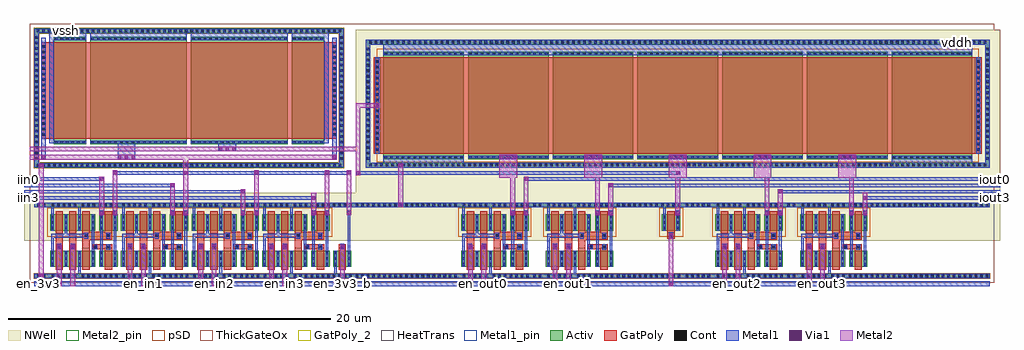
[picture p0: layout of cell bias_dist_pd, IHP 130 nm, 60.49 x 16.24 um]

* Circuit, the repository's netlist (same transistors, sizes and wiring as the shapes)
* SPDX-FileCopyrightText: 2026 Christoph Maier
* SPDX-License-Identifier: Apache-2.0
* bias_dist_pd.cdl: flat reference netlist of bias_dist_pd.gds, composed by build_bdp.py (Claude, agent D, C4 2026-11-07)
* from macros/bias_dist_pd/netlist/source/bias_dist_pd.spice + macros/hv_logic/netlist/source/hv_logic.spice
* (gates expanded, vdd / vss -> vddh / vssh); the dummies of bdp_mirror_n / bdp_mirror_p as backannotated in the source (else drawn names MDN0 / MDN3, MDP0 / MDP6).

.SUBCKT bias_dist_pd vddh vssh en_3v3 en_3v3_b iin0 iin1 iin2 iin3 en_in0 en_in1 en_in2 en_in3 iout0 iout1 iout2 iout3 en_out0 en_out1 en_out2 en_out3
MIA0_PA ei0_b en_3v3 vddh vddh sg13_hv_pmos w=1u l=0.45u ng=1 m=1
MIA0_PB ei0_b en_in0 vddh vddh sg13_hv_pmos w=1u l=0.45u ng=1 m=1
MIA0_NA ei0_b en_3v3 XIA0_n1 vssh sg13_hv_nmos w=1u l=0.45u ng=1 m=1
MIA0_NB XIA0_n1 en_in0 vssh vssh sg13_hv_nmos w=1u l=0.45u ng=1 m=1
MIB0_P ei0 ei0_b vddh vddh sg13_hv_pmos w=1u l=0.45u ng=1 m=1
MIB0_N ei0 ei0_b vssh vssh sg13_hv_nmos w=1u l=0.45u ng=1 m=1
MTIN0 iin0 ei0 ni vssh sg13_hv_nmos w=1u l=0.45u ng=1 m=1
MTIP0 iin0 ei0_b ni vddh sg13_hv_pmos w=1u l=0.45u ng=1 m=1
MIA1_PA ei1_b en_3v3 vddh vddh sg13_hv_pmos w=1u l=0.45u ng=1 m=1
MIA1_PB ei1_b en_in1 vddh vddh sg13_hv_pmos w=1u l=0.45u ng=1 m=1
MIA1_NA ei1_b en_3v3 XIA1_n1 vssh sg13_hv_nmos w=1u l=0.45u ng=1 m=1
MIA1_NB XIA1_n1 en_in1 vssh vssh sg13_hv_nmos w=1u l=0.45u ng=1 m=1
MIB1_P ei1 ei1_b vddh vddh sg13_hv_pmos w=1u l=0.45u ng=1 m=1
MIB1_N ei1 ei1_b vssh vssh sg13_hv_nmos w=1u l=0.45u ng=1 m=1
MTIN1 iin1 ei1 ni vssh sg13_hv_nmos w=1u l=0.45u ng=1 m=1
MTIP1 iin1 ei1_b ni vddh sg13_hv_pmos w=1u l=0.45u ng=1 m=1
MIA2_PA ei2_b en_3v3 vddh vddh sg13_hv_pmos w=1u l=0.45u ng=1 m=1
MIA2_PB ei2_b en_in2 vddh vddh sg13_hv_pmos w=1u l=0.45u ng=1 m=1
MIA2_NA ei2_b en_3v3 XIA2_n1 vssh sg13_hv_nmos w=1u l=0.45u ng=1 m=1
MIA2_NB XIA2_n1 en_in2 vssh vssh sg13_hv_nmos w=1u l=0.45u ng=1 m=1
MIB2_P ei2 ei2_b vddh vddh sg13_hv_pmos w=1u l=0.45u ng=1 m=1
MIB2_N ei2 ei2_b vssh vssh sg13_hv_nmos w=1u l=0.45u ng=1 m=1
MTIN2 iin2 ei2 ni vssh sg13_hv_nmos w=1u l=0.45u ng=1 m=1
MTIP2 iin2 ei2_b ni vddh sg13_hv_pmos w=1u l=0.45u ng=1 m=1
MIA3_PA ei3_b en_3v3 vddh vddh sg13_hv_pmos w=1u l=0.45u ng=1 m=1
MIA3_PB ei3_b en_in3 vddh vddh sg13_hv_pmos w=1u l=0.45u ng=1 m=1
MIA3_NA ei3_b en_3v3 XIA3_n1 vssh sg13_hv_nmos w=1u l=0.45u ng=1 m=1
MIA3_NB XIA3_n1 en_in3 vssh vssh sg13_hv_nmos w=1u l=0.45u ng=1 m=1
MIB3_P ei3 ei3_b vddh vddh sg13_hv_pmos w=1u l=0.45u ng=1 m=1
MIB3_N ei3 ei3_b vssh vssh sg13_hv_nmos w=1u l=0.45u ng=1 m=1
MTIN3 iin3 ei3 ni vssh sg13_hv_nmos w=1u l=0.45u ng=1 m=1
MTIP3 iin3 ei3_b ni vddh sg13_hv_pmos w=1u l=0.45u ng=1 m=1
MTDN ni en_3v3_b vssh vssh sg13_hv_nmos w=1u l=0.45u ng=1 m=1
MNI ni ni vssh vssh sg13_hv_nmos w=6u l=6u ng=1 m=1
MNM vpd ni vssh vssh sg13_hv_nmos w=6u l=6u ng=1 m=1
MPD vpd vpd vddh vddh sg13_hv_pmos w=5u l=6u ng=1 m=1
MSVPD vpd en_3v3 vddh vddh sg13_hv_pmos w=1u l=0.45u ng=1 m=1
MOA0_PA eo0_b en_3v3 vddh vddh sg13_hv_pmos w=1u l=0.45u ng=1 m=1
MOA0_PB eo0_b en_out0 vddh vddh sg13_hv_pmos w=1u l=0.45u ng=1 m=1
MOA0_NA eo0_b en_3v3 XOA0_n1 vssh sg13_hv_nmos w=1u l=0.45u ng=1 m=1
MOA0_NB XOA0_n1 en_out0 vssh vssh sg13_hv_nmos w=1u l=0.45u ng=1 m=1
MOB0_P eo0 eo0_b vddh vddh sg13_hv_pmos w=1u l=0.45u ng=1 m=1
MOB0_N eo0 eo0_b vssh vssh sg13_hv_nmos w=1u l=0.45u ng=1 m=1
MPO0 po0 vpd vddh vddh sg13_hv_pmos w=5u l=6u ng=1 m=1
MTON0 po0 eo0 iout0 vssh sg13_hv_nmos w=1u l=0.45u ng=1 m=1
MTOP0 po0 eo0_b iout0 vddh sg13_hv_pmos w=1u l=0.45u ng=1 m=1
MOA1_PA eo1_b en_3v3 vddh vddh sg13_hv_pmos w=1u l=0.45u ng=1 m=1
MOA1_PB eo1_b en_out1 vddh vddh sg13_hv_pmos w=1u l=0.45u ng=1 m=1
MOA1_NA eo1_b en_3v3 XOA1_n1 vssh sg13_hv_nmos w=1u l=0.45u ng=1 m=1
MOA1_NB XOA1_n1 en_out1 vssh vssh sg13_hv_nmos w=1u l=0.45u ng=1 m=1
MOB1_P eo1 eo1_b vddh vddh sg13_hv_pmos w=1u l=0.45u ng=1 m=1
MOB1_N eo1 eo1_b vssh vssh sg13_hv_nmos w=1u l=0.45u ng=1 m=1
MPO1 po1 vpd vddh vddh sg13_hv_pmos w=5u l=6u ng=1 m=1
MTON1 po1 eo1 iout1 vssh sg13_hv_nmos w=1u l=0.45u ng=1 m=1
MTOP1 po1 eo1_b iout1 vddh sg13_hv_pmos w=1u l=0.45u ng=1 m=1
MOA2_PA eo2_b en_3v3 vddh vddh sg13_hv_pmos w=1u l=0.45u ng=1 m=1
MOA2_PB eo2_b en_out2 vddh vddh sg13_hv_pmos w=1u l=0.45u ng=1 m=1
MOA2_NA eo2_b en_3v3 XOA2_n1 vssh sg13_hv_nmos w=1u l=0.45u ng=1 m=1
MOA2_NB XOA2_n1 en_out2 vssh vssh sg13_hv_nmos w=1u l=0.45u ng=1 m=1
MOB2_P eo2 eo2_b vddh vddh sg13_hv_pmos w=1u l=0.45u ng=1 m=1
MOB2_N eo2 eo2_b vssh vssh sg13_hv_nmos w=1u l=0.45u ng=1 m=1
MPO2 po2 vpd vddh vddh sg13_hv_pmos w=5u l=6u ng=1 m=1
MTON2 po2 eo2 iout2 vssh sg13_hv_nmos w=1u l=0.45u ng=1 m=1
MTOP2 po2 eo2_b iout2 vddh sg13_hv_pmos w=1u l=0.45u ng=1 m=1
MOA3_PA eo3_b en_3v3 vddh vddh sg13_hv_pmos w=1u l=0.45u ng=1 m=1
MOA3_PB eo3_b en_out3 vddh vddh sg13_hv_pmos w=1u l=0.45u ng=1 m=1
MOA3_NA eo3_b en_3v3 XOA3_n1 vssh sg13_hv_nmos w=1u l=0.45u ng=1 m=1
MOA3_NB XOA3_n1 en_out3 vssh vssh sg13_hv_nmos w=1u l=0.45u ng=1 m=1
MOB3_P eo3 eo3_b vddh vddh sg13_hv_pmos w=1u l=0.45u ng=1 m=1
MOB3_N eo3 eo3_b vssh vssh sg13_hv_nmos w=1u l=0.45u ng=1 m=1
MPO3 po3 vpd vddh vddh sg13_hv_pmos w=5u l=6u ng=1 m=1
MTON3 po3 eo3 iout3 vssh sg13_hv_nmos w=1u l=0.45u ng=1 m=1
MTOP3 po3 eo3_b iout3 vddh sg13_hv_pmos w=1u l=0.45u ng=1 m=1
* dummies (D = S = B on the rail, gate by abutment)
MMDN[1] vssh ni vssh vssh sg13_hv_nmos w=2u l=6u ng=1 m=1
MMDN[0] vssh ni vssh vssh sg13_hv_nmos w=2u l=6u ng=1 m=1
MMDP[1] vddh vpd vddh vddh sg13_hv_pmos w=5u l=6u ng=1 m=1
MMDP[0] vddh vpd vddh vddh sg13_hv_pmos w=5u l=6u ng=1 m=1
.ENDS bias_dist_pd

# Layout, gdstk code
from math import pi, radians
import gdstk
lib = gdstk.Library(unit=1e-6, precision=1e-09)
def R(c, l, rs):  # rectangles x0, y0, x1, y1
    for r in rs: c.add(gdstk.rectangle(r[:2], r[2:], *l))
def A(c, l, x, y, w, h, nx, ny, dx, dy):  # array of equal rectangles
    R(c, l, [(x+i*dx, y+j*dy, x+i*dx+w, y+j*dy+h) for i in range(nx) for j in range(ny)])
Activ = (1, 0)
GatPoly = (5, 0)
GatPoly_2 = (5, 2)
Cont = (6, 0)
Metal1 = (8, 0)
Metal1_pin = (8, 2)
Metal2 = (10, 0)
Metal2_pin = (10, 2)
pSD = (14, 0)
Via1 = (19, 0)
NWell = (31, 0)
ThickGateOx = (44, 0)
HeatTrans = (51, 0)

bdp_pmoshv_w2_l0p45_ng2 = lib.new_cell('bdp_pmosHV_w2_l0p45_ng2')
A(bdp_pmoshv_w2_l0p45_ng2, Activ, 0, 0, 0.3, 0.3, 3, 1, 0.83, 0)
R(bdp_pmoshv_w2_l0p45_ng2, Activ, [(0,0,1.96,1)])
R(bdp_pmoshv_w2_l0p45_ng2, GatPoly, [(0.34,-0.18,0.79,1.18), (1.17,-0.18,1.62,1.18)])
R(bdp_pmoshv_w2_l0p45_ng2, GatPoly_2, [(0.34,-0.18,0.79,1.18)])
A(bdp_pmoshv_w2_l0p45_ng2, Cont, 0.07, 0.07, 0.16, 0.16, 3, 3, 0.83, 0.35)
A(bdp_pmoshv_w2_l0p45_ng2, Metal1, 0.07, 0, 0.16, 1, 3, 1, 0.83, 0)
R(bdp_pmoshv_w2_l0p45_ng2, Metal1_pin, [(0.07,0,0.23,1), (0.9,0,1.06,1)])
R(bdp_pmoshv_w2_l0p45_ng2, pSD, [(-0.18,-0.4,2.14,1.4)])
R(bdp_pmoshv_w2_l0p45_ng2, NWell, [(-0.62,-0.62,2.58,1.62)])
R(bdp_pmoshv_w2_l0p45_ng2, ThickGateOx, [(-0.62,-0.62,2.58,1.62)])
R(bdp_pmoshv_w2_l0p45_ng2, HeatTrans, [(0.34,-0.18,0.79,1.18), (1.17,-0.18,1.62,1.18)])
bdp_pmoshv_w2_l0p45_ng2.add(gdstk.Label('pmosHV', (0.565,0.5), layer=63, texttype=0))
bdp_pmoshv_w2_l0p45_ng2.add(gdstk.Label('pmos', (0.565,0.5), layer=51, texttype=0))
bdp_pmoshv_w2_l0p45_ng2.add(gdstk.Label('pmos', (1.395,0.5), layer=51, texttype=0))

bdp_nmoshv_w2_l0p45_ng2 = lib.new_cell('bdp_nmosHV_w2_l0p45_ng2')
A(bdp_nmoshv_w2_l0p45_ng2, Activ, 0, 0, 0.3, 0.3, 3, 1, 0.83, 0)
R(bdp_nmoshv_w2_l0p45_ng2, Activ, [(0,0,1.96,1)])
R(bdp_nmoshv_w2_l0p45_ng2, GatPoly, [(0.34,-0.18,0.79,1.18), (1.17,-0.18,1.62,1.18)])
R(bdp_nmoshv_w2_l0p45_ng2, GatPoly_2, [(0.34,-0.18,0.79,1.18)])
A(bdp_nmoshv_w2_l0p45_ng2, Cont, 0.07, 0.07, 0.16, 0.16, 3, 3, 0.83, 0.35)
A(bdp_nmoshv_w2_l0p45_ng2, Metal1, 0.07, 0, 0.16, 1, 3, 1, 0.83, 0)
R(bdp_nmoshv_w2_l0p45_ng2, Metal1_pin, [(0.07,0,0.23,1), (0.9,0,1.06,1)])
R(bdp_nmoshv_w2_l0p45_ng2, ThickGateOx, [(-0.27,-0.52,2.23,1.52)])
R(bdp_nmoshv_w2_l0p45_ng2, HeatTrans, [(0.34,-0.18,0.79,1.18), (1.17,-0.18,1.62,1.18)])
bdp_nmoshv_w2_l0p45_ng2.add(gdstk.Label('nmosHV', (0.565,0.5), layer=63, texttype=0))
bdp_nmoshv_w2_l0p45_ng2.add(gdstk.Label('nmosHV', (0.565,0.5), layer=51, texttype=0))
bdp_nmoshv_w2_l0p45_ng2.add(gdstk.Label('nmosHV', (1.395,0.5), layer=51, texttype=0))

nand2_hv = lib.new_cell('nand2_hv')
R(nand2_hv, Activ, [(-0.105,0,1.96,0.3), (-0.105,4.4,1.96,4.7)])
R(nand2_hv, GatPoly, [(0.34,1.91,0.79,2.79), (1.17,1.91,1.62,2.79)])
A(nand2_hv, Cont, 0.09, 0.07, 0.16, 0.16, 5, 2, 0.34, 4.4)
R(nand2_hv, Cont, [(0.485,1.87,0.645,2.03), (1.315,1.87,1.475,2.03)])
R(nand2_hv, Metal1, [(-0.105,0,1.96,0.3), (1.73,0.3,1.89,0.73), (0.07,1.73,0.23,2.78), (0.435,1.8,0.695,2.15), (1.265,1.8,1.525,2.15), (0.07,2.52,1.06,2.78), (0.9,2.52,1.06,2.97), (0.07,3.97,0.23,4.4), (1.73,3.97,1.89,4.4), (-0.105,4.4,1.96,4.7)])
R(nand2_hv, pSD, [(-0.135,-0.03,1.99,0.33)])
R(nand2_hv, NWell, [(-0.725,2.35,2.58,5.32)])
R(nand2_hv, ThickGateOx, [(-0.375,-0.27,2.23,4.97)])
nand2_hv.add(gdstk.Reference(bdp_pmoshv_w2_l0p45_ng2, (0,2.97)))
nand2_hv.add(gdstk.Reference(bdp_nmoshv_w2_l0p45_ng2, (0,0.73)))
nand2_hv.add(gdstk.Label('PA PB', (0.98,3.47), layer=63, texttype=0))
nand2_hv.add(gdstk.Label('NA NB', (0.98,1.23), layer=63, texttype=0))

bdp_pmoshv_w1_l0p45 = lib.new_cell('bdp_pmosHV_w1_l0p45')
R(bdp_pmoshv_w1_l0p45, Activ, [(0,0,0.3,0.3), (0,0,1.13,1), (0.83,0,1.13,0.3)])
R(bdp_pmoshv_w1_l0p45, GatPoly, [(0.34,-0.18,0.79,1.18)])
R(bdp_pmoshv_w1_l0p45, GatPoly_2, [(0.34,-0.18,0.79,1.18)])
A(bdp_pmoshv_w1_l0p45, Cont, 0.07, 0.07, 0.16, 0.16, 1, 3, 0, 0.35)
A(bdp_pmoshv_w1_l0p45, Cont, 0.9, 0.07, 0.16, 0.16, 1, 3, 0, 0.35)
R(bdp_pmoshv_w1_l0p45, Metal1, [(0.07,0,0.23,1), (0.9,0,1.06,1)])
R(bdp_pmoshv_w1_l0p45, Metal1_pin, [(0.07,0,0.23,1), (0.9,0,1.06,1)])
R(bdp_pmoshv_w1_l0p45, pSD, [(-0.18,-0.4,1.31,1.4)])
R(bdp_pmoshv_w1_l0p45, NWell, [(-0.62,-0.62,1.75,1.62)])
R(bdp_pmoshv_w1_l0p45, ThickGateOx, [(-0.62,-0.62,1.75,1.62)])
R(bdp_pmoshv_w1_l0p45, HeatTrans, [(0.34,-0.18,0.79,1.18)])
bdp_pmoshv_w1_l0p45.add(gdstk.Label('pmosHV', (0.565,0.5), layer=63, texttype=0))
bdp_pmoshv_w1_l0p45.add(gdstk.Label('pmos', (0.565,0.5), layer=51, texttype=0))

bdp_nmoshv_w1_l0p45 = lib.new_cell('bdp_nmosHV_w1_l0p45')
R(bdp_nmoshv_w1_l0p45, Activ, [(0,0,0.3,0.3), (0,0,1.13,1), (0.83,0,1.13,0.3)])
R(bdp_nmoshv_w1_l0p45, GatPoly, [(0.34,-0.18,0.79,1.18)])
R(bdp_nmoshv_w1_l0p45, GatPoly_2, [(0.34,-0.18,0.79,1.18)])
A(bdp_nmoshv_w1_l0p45, Cont, 0.07, 0.07, 0.16, 0.16, 1, 3, 0, 0.35)
A(bdp_nmoshv_w1_l0p45, Cont, 0.9, 0.07, 0.16, 0.16, 1, 3, 0, 0.35)
R(bdp_nmoshv_w1_l0p45, Metal1, [(0.07,0,0.23,1), (0.9,0,1.06,1)])
R(bdp_nmoshv_w1_l0p45, Metal1_pin, [(0.07,0,0.23,1), (0.9,0,1.06,1)])
R(bdp_nmoshv_w1_l0p45, ThickGateOx, [(-0.27,-0.52,1.4,1.52)])
R(bdp_nmoshv_w1_l0p45, HeatTrans, [(0.34,-0.18,0.79,1.18)])
bdp_nmoshv_w1_l0p45.add(gdstk.Label('nmosHV', (0.565,0.5), layer=63, texttype=0))
bdp_nmoshv_w1_l0p45.add(gdstk.Label('nmosHV', (0.565,0.5), layer=51, texttype=0))

inv_hv = lib.new_cell('inv_hv')
R(inv_hv, Activ, [(0,0,1.255,0.3), (0,4.4,1.255,4.7)])
R(inv_hv, GatPoly, [(0.34,1.91,0.79,2.79)])
A(inv_hv, Cont, 0.28, 0.07, 0.16, 0.16, 3, 2, 0.34, 4.4)
R(inv_hv, Cont, [(0.485,2.57,0.645,2.73)])
R(inv_hv, Metal1, [(0,0,1.255,0.3), (0.07,0.3,0.23,0.73), (0.9,1.73,1.06,2.97), (0.435,2.47,0.695,2.82), (0.07,3.97,0.23,4.4), (0,4.4,1.255,4.7)])
R(inv_hv, pSD, [(-0.03,-0.03,1.285,0.33)])
R(inv_hv, NWell, [(-0.62,2.35,1.875,5.32)])
R(inv_hv, ThickGateOx, [(-0.27,-0.27,1.525,4.97)])
inv_hv.add(gdstk.Reference(bdp_pmoshv_w1_l0p45, (0,2.97)))
inv_hv.add(gdstk.Reference(bdp_nmoshv_w1_l0p45, (0,0.73)))
inv_hv.add(gdstk.Label('P', (0.565,3.47), layer=63, texttype=0))
inv_hv.add(gdstk.Label('N', (0.565,1.23), layer=63, texttype=0))

tg_hv = lib.new_cell('tg_hv')
R(tg_hv, Activ, [(-0.125,0,1.235,0.3), (-0.125,4.4,1.235,4.7)])
R(tg_hv, GatPoly, [(0.34,1.91,0.79,2.12), (0.34,2.45,0.79,2.79)])
A(tg_hv, Cont, -0.035, 0.07, 0.16, 0.16, 4, 2, 0.34, 4.4)
R(tg_hv, Cont, [(0.485,1.87,0.645,2.03), (0.485,2.57,0.645,2.73)])
R(tg_hv, Metal1, [(-0.125,0,1.235,0.3), (0.07,1.73,0.23,2.97), (0.9,1.73,1.06,2.97), (0.435,1.77,0.695,2.12), (0.435,2.47,0.695,2.82), (-0.125,4.4,1.235,4.7)])
R(tg_hv, pSD, [(-0.155,-0.03,1.265,0.33)])
R(tg_hv, NWell, [(-0.745,2.35,1.855,5.32)])
R(tg_hv, ThickGateOx, [(-0.395,-0.27,1.505,4.97)])
tg_hv.add(gdstk.Reference(bdp_pmoshv_w1_l0p45, (0,2.97)))
tg_hv.add(gdstk.Reference(bdp_nmoshv_w1_l0p45, (0,0.73)))
tg_hv.add(gdstk.Label('TGP', (0.565,3.47), layer=63, texttype=0))
tg_hv.add(gdstk.Label('TGN', (0.565,1.23), layer=63, texttype=0))

bdp_slice = lib.new_cell('bdp_slice')
R(bdp_slice, GatPoly, [(2.63,1.8,3.83,2.12), (2,2.4,3.83,2.9)])
R(bdp_slice, Cont, [(2.7,1.87,2.86,2.03)])
R(bdp_slice, Metal1, [(-0.105,-0.47,4.275,-0.18), (2.56,1.82,2.91,2.08), (1.06,2.52,2.095,2.78), (3.085,3.93,3.295,4.22), (3.915,3.93,4.125,4.22)])
R(bdp_slice, Metal2, [(0.42,-0.47,0.71,2.09), (1.25,-0.47,1.54,2.09), (3.045,3.93,3.335,5.32), (3.875,3.93,4.165,5.32)])
R(bdp_slice, Via1, [(0.47,-0.42,0.66,-0.23), (0.47,1.85,0.66,2.04), (1.3,1.85,1.49,2.04), (3.095,3.98,3.285,4.17), (3.925,3.98,4.115,4.17)])
bdp_slice.add(gdstk.Reference(nand2_hv, (0,0)))
bdp_slice.add(gdstk.Reference(inv_hv, (1.66,0)))
bdp_slice.add(gdstk.Reference(tg_hv, (3.04,0)))

bdp_tdn = lib.new_cell('bdp_tdn')
R(bdp_tdn, Activ, [(-0.125,0,1.235,0.3), (-0.125,4.4,1.235,4.7)])
R(bdp_tdn, GatPoly, [(0.34,1.91,0.79,2.12)])
A(bdp_tdn, Cont, -0.035, 0.07, 0.16, 0.16, 4, 2, 0.34, 4.4)
R(bdp_tdn, Cont, [(0.485,1.87,0.645,2.03)])
R(bdp_tdn, Metal1, [(-0.125,-0.47,1.235,-0.18), (-0.125,0,1.235,0.3), (0.07,0.3,0.23,0.73), (0.9,1.73,1.06,3.93), (0.435,1.8,0.695,2.15), (0.875,3.93,1.085,4.22), (-0.125,4.4,1.235,4.7)])
R(bdp_tdn, Metal2, [(0.42,-0.47,0.71,2.09), (0.835,3.93,1.125,5.32)])
R(bdp_tdn, pSD, [(-0.155,-0.03,1.265,0.33)])
R(bdp_tdn, Via1, [(0.47,1.85,0.66,2.04), (0.885,3.98,1.075,4.17)])
R(bdp_tdn, NWell, [(-0.745,2.35,1.855,5.32)])
R(bdp_tdn, ThickGateOx, [(-0.395,-0.27,1.505,4.97)])
bdp_tdn.add(gdstk.Reference(bdp_nmoshv_w1_l0p45, (0,0.73)))
bdp_tdn.add(gdstk.Label('TDN', (0.565,1.23), layer=63, texttype=0))

bdp_svpd = lib.new_cell('bdp_svpd')
R(bdp_svpd, Activ, [(-0.125,0,1.235,0.3), (-0.125,4.4,1.235,4.7)])
R(bdp_svpd, GatPoly, [(0.34,2.45,0.79,2.79)])
A(bdp_svpd, Cont, -0.035, 0.07, 0.16, 0.16, 4, 2, 0.34, 4.4)
R(bdp_svpd, Cont, [(0.485,2.57,0.645,2.73)])
R(bdp_svpd, Metal1, [(-0.125,-0.47,1.235,-0.18), (-0.125,0,1.235,0.3), (0.435,2.5,0.695,2.85), (0.875,3.93,1.085,4.22), (0.07,3.97,0.23,4.4), (-0.125,4.4,1.235,4.7)])
R(bdp_svpd, Metal2, [(0.42,-0.47,0.71,2.79), (0.835,3.93,1.125,5.32)])
R(bdp_svpd, pSD, [(-0.155,-0.03,1.265,0.33)])
R(bdp_svpd, Via1, [(0.47,-0.42,0.66,-0.23), (0.47,2.55,0.66,2.74), (0.885,3.98,1.075,4.17)])
R(bdp_svpd, NWell, [(-0.745,2.35,1.855,5.32)])
R(bdp_svpd, ThickGateOx, [(-0.395,-0.27,1.505,4.97)])
bdp_svpd.add(gdstk.Reference(bdp_pmoshv_w1_l0p45, (0,2.97)))
bdp_svpd.add(gdstk.Label('SVPD', (0.565,3.47), layer=63, texttype=0))

bdp_nmoshv = lib.new_cell('bdp_nmosHV')
R(bdp_nmoshv, Activ, [(0,0,0.3,0.3), (0,0,6.68,2), (6.38,0,6.68,0.3)])
R(bdp_nmoshv, GatPoly, [(0.34,-0.18,6.34,2.18)])
R(bdp_nmoshv, GatPoly_2, [(0.34,-0.18,6.34,2.18)])
A(bdp_nmoshv, Cont, 0.07, 0.07, 0.16, 0.16, 1, 6, 0, 0.34)
A(bdp_nmoshv, Cont, 6.45, 0.07, 0.16, 0.16, 1, 6, 0, 0.34)
R(bdp_nmoshv, Metal1, [(0.07,0,0.23,2), (6.45,0,6.61,2)])
R(bdp_nmoshv, Metal1_pin, [(0.07,0,0.23,2), (6.45,0,6.61,2)])
R(bdp_nmoshv, ThickGateOx, [(-0.27,-0.52,6.95,2.52)])
R(bdp_nmoshv, HeatTrans, [(0.34,-0.18,6.34,2.18)])
bdp_nmoshv.add(gdstk.Label('nmosHV', (3.34,1), layer=63, texttype=0))
bdp_nmoshv.add(gdstk.Label('nmosHV', (3.34,1), layer=51, texttype=0))

bdp_nmoshv_1 = lib.new_cell('bdp_nmosHV_1')
R(bdp_nmoshv_1, Activ, [(0,0,0.3,0.3), (0,0,6.68,6), (6.38,0,6.68,0.3)])
R(bdp_nmoshv_1, GatPoly, [(0.34,-0.18,6.34,6.18)])
R(bdp_nmoshv_1, GatPoly_2, [(0.34,-0.18,6.34,6.18)])
A(bdp_nmoshv_1, Cont, 0.07, 0.07, 0.16, 0.16, 1, 4, 0, 0.355)
A(bdp_nmoshv_1, Cont, 6.45, 0.07, 0.16, 0.16, 1, 4, 0, 0.355)
A(bdp_nmoshv_1, Cont, 0.07, 1.495, 0.16, 0.16, 1, 4, 0, 0.355)
A(bdp_nmoshv_1, Cont, 6.45, 1.495, 0.16, 0.16, 1, 4, 0, 0.355)
A(bdp_nmoshv_1, Cont, 0.07, 2.92, 0.16, 0.16, 1, 4, 0, 0.355)
A(bdp_nmoshv_1, Cont, 6.45, 2.92, 0.16, 0.16, 1, 4, 0, 0.355)
A(bdp_nmoshv_1, Cont, 0.07, 4.345, 0.16, 0.16, 1, 4, 0, 0.355)
A(bdp_nmoshv_1, Cont, 6.45, 4.345, 0.16, 0.16, 1, 4, 0, 0.355)
R(bdp_nmoshv_1, Cont, [(0.07,5.77,0.23,5.93), (6.45,5.77,6.61,5.93)])
R(bdp_nmoshv_1, Metal1, [(0.07,0,0.23,6), (6.45,0,6.61,6)])
R(bdp_nmoshv_1, Metal1_pin, [(0.07,0,0.23,6), (6.45,0,6.61,6)])
R(bdp_nmoshv_1, ThickGateOx, [(-0.27,-0.52,6.95,6.52)])
R(bdp_nmoshv_1, HeatTrans, [(0.34,-0.18,6.34,6.18)])
bdp_nmoshv_1.add(gdstk.Label('nmosHV', (3.34,3), layer=63, texttype=0))
bdp_nmoshv_1.add(gdstk.Label('nmosHV', (3.34,3), layer=51, texttype=0))

bdp_mirror_n = lib.new_cell('bdp_mirror_n')
R(bdp_mirror_n, Activ, [(-1.23,-0.51,17.98,-0.21), (-1.23,-0.51,-0.93,8.12), (17.68,-0.51,17.98,8.12), (-1.23,7.82,17.98,8.12)])
R(bdp_mirror_n, GatPoly, [(-0.79,0.34,-0.1,6.34), (16.85,0.34,17.54,6.34)])
A(bdp_mirror_n, Cont, -1.055, -0.44, 0.16, 0.16, 56, 2, 0.34, 8.33)
A(bdp_mirror_n, Cont, -1.16, -0.015, 0.16, 0.16, 1, 23, 0, 0.34)
A(bdp_mirror_n, Cont, 17.75, -0.015, 0.16, 0.16, 1, 23, 0, 0.34)
A(bdp_mirror_n, Cont, -0.72, 0.54, 0.16, 0.16, 1, 17, 0, 0.34)
A(bdp_mirror_n, Cont, 17.31, 0.54, 0.16, 0.16, 1, 17, 0, 0.34)
R(bdp_mirror_n, Metal1, [(-1.21,-0.49,17.96,-0.23), (-1.21,-0.49,-0.95,8.1), (17.7,-0.49,17.96,8.1), (-0.29,-0.23,0,6.61), (0,-0.23,2,0.23), (2.25,-0.23,8.25,0.23), (8.5,-0.23,14.5,0.23), (14.75,-0.23,16.75,0.23), (16.75,-0.23,17.04,6.61), (-0.77,0.07,-0.51,7.62), (17.26,0.07,17.52,7.62), (3.945,6.45,5.055,7.62), (10.195,6.45,11.305,7.12), (-1.21,7.84,17.96,8.1)])
R(bdp_mirror_n, Metal2, [(-1.5,6.83,17.535,7.12), (-1.5,7.33,17.535,7.62)])
R(bdp_mirror_n, pSD, [(-1.26,-0.54,18.01,-0.18), (-1.26,-0.54,-0.9,8.15), (17.65,-0.54,18.01,8.15), (-1.26,7.79,18.01,8.15)])
A(bdp_mirror_n, Via1, 10.245, 6.88, 0.19, 0.19, 3, 1, 0.41, 0)
A(bdp_mirror_n, Via1, 3.995, 7.38, 0.19, 0.19, 3, 1, 0.41, 0)
R(bdp_mirror_n, Via1, [(-0.735,7.38,-0.545,7.57), (17.295,7.38,17.485,7.57)])
R(bdp_mirror_n, ThickGateOx, [(-1.5,-0.78,18.25,8.39)])
bdp_mirror_n.add(gdstk.Reference(bdp_nmoshv, (0,6.68), rotation=3*pi/2))
bdp_mirror_n.add(gdstk.Reference(bdp_nmoshv, (16.75,6.68), rotation=3*pi/2, x_reflection=True))
bdp_mirror_n.add(gdstk.Reference(bdp_nmoshv_1, (2.25,6.68), rotation=3*pi/2))
bdp_mirror_n.add(gdstk.Reference(bdp_nmoshv_1, (14.5,6.68), rotation=3*pi/2, x_reflection=True))
bdp_mirror_n.add(gdstk.Label('dummy', (1,3.34), layer=63, texttype=0))
bdp_mirror_n.add(gdstk.Label('NI', (5.25,3.34), layer=63, texttype=0))
bdp_mirror_n.add(gdstk.Label('NM', (11.5,3.34), layer=63, texttype=0))
bdp_mirror_n.add(gdstk.Label('dummy', (15.75,3.34), layer=63, texttype=0))

bdp_pmoshv_w5_l6 = lib.new_cell('bdp_pmosHV_w5_l6')
R(bdp_pmoshv_w5_l6, Activ, [(0,0,0.3,0.3), (0,0,6.68,5), (6.38,0,6.68,0.3)])
R(bdp_pmoshv_w5_l6, GatPoly, [(0.34,-0.18,6.34,5.18)])
R(bdp_pmoshv_w5_l6, GatPoly_2, [(0.34,-0.18,6.34,5.18)])
A(bdp_pmoshv_w5_l6, Cont, 0.07, 0.07, 0.16, 0.16, 1, 4, 0, 0.36)
A(bdp_pmoshv_w5_l6, Cont, 6.45, 0.07, 0.16, 0.16, 1, 4, 0, 0.36)
A(bdp_pmoshv_w5_l6, Cont, 0.07, 1.515, 0.16, 0.16, 1, 3, 0, 0.36)
A(bdp_pmoshv_w5_l6, Cont, 6.45, 1.515, 0.16, 0.16, 1, 3, 0, 0.36)
A(bdp_pmoshv_w5_l6, Cont, 0.07, 2.6, 0.16, 0.16, 1, 3, 0, 0.36)
A(bdp_pmoshv_w5_l6, Cont, 6.45, 2.6, 0.16, 0.16, 1, 3, 0, 0.36)
A(bdp_pmoshv_w5_l6, Cont, 0.07, 3.685, 0.16, 0.16, 1, 3, 0, 0.36)
A(bdp_pmoshv_w5_l6, Cont, 6.45, 3.685, 0.16, 0.16, 1, 3, 0, 0.36)
R(bdp_pmoshv_w5_l6, Cont, [(0.07,4.77,0.23,4.93), (6.45,4.77,6.61,4.93)])
R(bdp_pmoshv_w5_l6, Metal1, [(0.07,0,0.23,5), (6.45,0,6.61,5)])
R(bdp_pmoshv_w5_l6, Metal1_pin, [(0.07,0,0.23,5), (6.45,0,6.61,5)])
R(bdp_pmoshv_w5_l6, pSD, [(-0.18,-0.4,6.86,5.4)])
R(bdp_pmoshv_w5_l6, NWell, [(-0.62,-0.62,7.3,5.62)])
R(bdp_pmoshv_w5_l6, ThickGateOx, [(-0.62,-0.62,7.3,5.62)])
R(bdp_pmoshv_w5_l6, HeatTrans, [(0.34,-0.18,6.34,5.18)])
bdp_pmoshv_w5_l6.add(gdstk.Label('pmosHV', (3.34,2.5), layer=63, texttype=0))
bdp_pmoshv_w5_l6.add(gdstk.Label('pmos', (3.34,2.5), layer=51, texttype=0))

bdp_mirror_p = lib.new_cell('bdp_mirror_p')
R(bdp_mirror_p, Activ, [(0.62,0.62,39.32,0.92), (0.62,0.92,0.92,8.24), (39.02,0.92,39.32,8.24), (0.62,8.24,39.32,8.54)])
R(bdp_mirror_p, GatPoly, [(1.12,1.47,1.72,7.47), (38.22,1.47,38.82,7.47)])
A(bdp_mirror_p, Cont, 0.85, 0.69, 0.16, 0.16, 113, 2, 0.34, 7.62)
A(bdp_mirror_p, Cont, 0.69, 1.1, 0.16, 0.16, 1, 21, 0, 0.34)
A(bdp_mirror_p, Cont, 39.09, 1.1, 0.16, 0.16, 1, 21, 0, 0.34)
A(bdp_mirror_p, Cont, 1.26, 1.67, 0.16, 0.16, 1, 17, 0, 0.34)
A(bdp_mirror_p, Cont, 38.52, 1.67, 0.16, 0.16, 1, 17, 0, 0.34)
A(bdp_mirror_p, Metal1, 8.915, 1.14, 1.11, 0.29, 5, 1, 5.25, 0)
R(bdp_mirror_p, Metal1, [(0,0.19,20.12,0.4), (0.62,0.62,39.32,0.92), (0.62,0.92,0.92,8.24), (1.72,0.92,6.72,1.36), (33.22,0.92,38.22,1.36), (39.02,0.92,39.32,8.24), (1.21,1.49,1.47,7.45), (38.47,1.49,38.73,7.45), (1.72,7.58,38.22,8.54), (0.62,8.24,39.32,8.54)])
A(bdp_mirror_p, Metal2, 8.915, 0, 1.11, 1.43, 5, 1, 5.25, 0)
R(bdp_mirror_p, Metal2, [(0,0.15,0.29,4.62), (0,4.32,1.47,4.62)])
A(bdp_mirror_p, Via1, 8.965, 1.19, 0.19, 0.19, 3, 1, 0.41, 0)
A(bdp_mirror_p, Via1, 14.215, 1.19, 0.19, 0.19, 3, 1, 0.41, 0)
A(bdp_mirror_p, Via1, 19.465, 1.19, 0.19, 0.19, 3, 1, 0.41, 0)
A(bdp_mirror_p, Via1, 24.715, 1.19, 0.19, 0.19, 3, 1, 0.41, 0)
A(bdp_mirror_p, Via1, 29.965, 1.19, 0.19, 0.19, 3, 1, 0.41, 0)
R(bdp_mirror_p, Via1, [(0.05,0.2,0.24,0.39), (19.875,0.2,20.065,0.39), (1.245,4.375,1.435,4.565)])
R(bdp_mirror_p, NWell, [(0,0,39.94,9.16)])
R(bdp_mirror_p, ThickGateOx, [(0,0,39.94,9.16)])
bdp_mirror_p.add(gdstk.Reference(bdp_pmoshv_w5_l6, (1.72,7.81), rotation=3*pi/2))
bdp_mirror_p.add(gdstk.Reference(bdp_pmoshv_w5_l6, (6.97,7.81), rotation=3*pi/2))
bdp_mirror_p.add(gdstk.Reference(bdp_pmoshv_w5_l6, (12.22,7.81), rotation=3*pi/2))
bdp_mirror_p.add(gdstk.Reference(bdp_pmoshv_w5_l6, (17.47,7.81), rotation=3*pi/2))
bdp_mirror_p.add(gdstk.Reference(bdp_pmoshv_w5_l6, (27.72,7.81), rotation=3*pi/2, x_reflection=True))
bdp_mirror_p.add(gdstk.Reference(bdp_pmoshv_w5_l6, (32.97,7.81), rotation=3*pi/2, x_reflection=True))
bdp_mirror_p.add(gdstk.Reference(bdp_pmoshv_w5_l6, (38.22,7.81), rotation=3*pi/2, x_reflection=True))
bdp_mirror_p.add(gdstk.Label('D', (4.22,4.47), layer=63, texttype=0))
bdp_mirror_p.add(gdstk.Label('PO0', (9.47,4.47), layer=63, texttype=0))
bdp_mirror_p.add(gdstk.Label('PO1', (14.72,4.47), layer=63, texttype=0))
bdp_mirror_p.add(gdstk.Label('PD', (19.97,4.47), layer=63, texttype=0))
bdp_mirror_p.add(gdstk.Label('PO2', (25.22,4.47), layer=63, texttype=0))
bdp_mirror_p.add(gdstk.Label('PO3', (30.47,4.47), layer=63, texttype=0))
bdp_mirror_p.add(gdstk.Label('D', (35.72,4.47), layer=63, texttype=0))

bdp_fill0 = lib.new_cell('bdp_fill0')
R(bdp_fill0, Activ, [(0,0,0.9,0.3), (0,4.4,0.9,4.7)])
R(bdp_fill0, Cont, [(0.2,0.07,0.36,0.23), (0.54,0.07,0.7,0.23), (0.2,4.47,0.36,4.63), (0.54,4.47,0.7,4.63)])
R(bdp_fill0, Metal1, [(0,-0.47,0.9,-0.18), (0,0,0.9,0.3), (0,4.4,0.9,4.7)])
R(bdp_fill0, pSD, [(-0.03,-0.03,0.93,0.33)])
R(bdp_fill0, NWell, [(-0.62,2.35,1.52,5.32)])
R(bdp_fill0, ThickGateOx, [(-0.27,-0.27,1.17,4.97)])

bdp_fill1 = lib.new_cell('bdp_fill1')
R(bdp_fill1, Activ, [(0,0,6.595,0.3), (0,4.4,6.595,4.7)])
A(bdp_fill1, Cont, 0.155, 0.07, 0.16, 0.16, 19, 2, 0.34, 4.4)
R(bdp_fill1, Metal1, [(0,-0.47,6.595,-0.18), (0,0,6.595,0.3), (0,4.4,6.595,4.7)])
R(bdp_fill1, pSD, [(-0.03,-0.03,6.625,0.33)])
R(bdp_fill1, NWell, [(-0.62,2.35,7.215,5.32)])
R(bdp_fill1, ThickGateOx, [(-0.27,-0.27,6.865,4.97)])

bdp_fill2 = lib.new_cell('bdp_fill2')
R(bdp_fill2, Activ, [(0,0,0.87,0.3), (0,4.4,0.87,4.7)])
R(bdp_fill2, Cont, [(0.185,0.07,0.345,0.23), (0.525,0.07,0.685,0.23), (0.185,4.47,0.345,4.63), (0.525,4.47,0.685,4.63)])
R(bdp_fill2, Metal1, [(0,-0.47,0.87,-0.18), (0,0,0.87,0.3), (0,4.4,0.87,4.7)])
R(bdp_fill2, pSD, [(-0.03,-0.03,0.9,0.33)])
R(bdp_fill2, NWell, [(-0.62,2.35,1.49,5.32)])
R(bdp_fill2, ThickGateOx, [(-0.27,-0.27,1.14,4.97)])

bdp_fill3 = lib.new_cell('bdp_fill3')
R(bdp_fill3, Activ, [(0,0,2.79,0.3), (0,4.4,2.79,4.7)])
A(bdp_fill3, Cont, 0.125, 0.07, 0.16, 0.16, 8, 2, 0.34, 4.4)
R(bdp_fill3, Metal1, [(0,-0.47,2.79,-0.18), (0,0,2.79,0.3), (0,4.4,2.79,4.7)])
R(bdp_fill3, pSD, [(-0.03,-0.03,2.82,0.33)])
R(bdp_fill3, NWell, [(-0.62,2.35,3.41,5.32)])
R(bdp_fill3, ThickGateOx, [(-0.27,-0.27,3.06,4.97)])

bdp_fill4 = lib.new_cell('bdp_fill4')
R(bdp_fill4, Activ, [(0,0,1.97,0.3), (0,4.4,1.97,4.7)])
A(bdp_fill4, Cont, 0.225, 0.07, 0.16, 0.16, 5, 2, 0.34, 4.4)
R(bdp_fill4, Metal1, [(0,-0.47,1.97,-0.18), (0,0,1.97,0.3), (0,4.4,1.97,4.7)])
R(bdp_fill4, pSD, [(-0.03,-0.03,2,0.33)])
R(bdp_fill4, NWell, [(-0.62,2.35,2.59,5.32)])
R(bdp_fill4, ThickGateOx, [(-0.27,-0.27,2.24,4.97)])

bdp_fill5 = lib.new_cell('bdp_fill5')
R(bdp_fill5, Activ, [(0,0,0.87,0.3), (0,4.4,0.87,4.7)])
R(bdp_fill5, Cont, [(0.185,0.07,0.345,0.23), (0.525,0.07,0.685,0.23), (0.185,4.47,0.345,4.63), (0.525,4.47,0.685,4.63)])
R(bdp_fill5, Metal1, [(0,-0.47,0.87,-0.18), (0,0,0.87,0.3), (0,4.4,0.87,4.7)])
R(bdp_fill5, pSD, [(-0.03,-0.03,0.9,0.33)])
R(bdp_fill5, NWell, [(-0.62,2.35,1.49,5.32)])
R(bdp_fill5, ThickGateOx, [(-0.27,-0.27,1.14,4.97)])

bdp_fill6 = lib.new_cell('bdp_fill6')
R(bdp_fill6, Activ, [(0,0,7.495,0.3), (0,4.4,7.495,4.7)])
A(bdp_fill6, Cont, 0.095, 0.07, 0.16, 0.16, 22, 2, 0.34, 4.4)
R(bdp_fill6, Metal1, [(0,-0.47,7.495,-0.18), (0,0,7.495,0.3), (0,4.4,7.495,4.7)])
R(bdp_fill6, pSD, [(-0.03,-0.03,7.525,0.33)])
R(bdp_fill6, NWell, [(-0.62,2.35,8.115,5.32)])
R(bdp_fill6, ThickGateOx, [(-0.27,-0.27,7.765,4.97)])

bias_dist_pd = lib.new_cell('bias_dist_pd')
R(bias_dist_pd, Metal1, [(-0.35,4.88,17.755,5.09), (51.62,4.88,60.14,5.09), (-0.35,5.27,13.375,5.48), (46.37,5.27,60.14,5.48), (-0.35,5.66,8.995,5.87), (35.87,5.66,60.14,5.87), (-0.35,6.05,4.615,6.26), (30.62,6.05,60.14,6.26), (5.145,6.44,19.945,6.65)])
A(bias_dist_pd, Metal1_pin, -0.35, 4.88, 0.5, 0.21, 1, 4, 0, 0.39)
A(bias_dist_pd, Metal1_pin, 59.64, 4.88, 0.5, 0.21, 1, 4, 0, 0.39)
R(bias_dist_pd, Metal1_pin, [(0.27,-0.47,0.77,-0.18), (56.52,14.49,58.52,14.79), (1.27,15.22,3.27,15.48)])
A(bias_dist_pd, Metal2, 5.15, 5.02, 0.29, 1.67, 4, 1, 4.38, 0)
R(bias_dist_pd, Metal2, [(0.575,0.005,0.865,7.125), (22.855,4.405,23.145,7.125), (4.32,5.02,4.61,6.3), (8.7,5.02,8.99,5.91), (13.08,5.02,13.37,5.52), (17.46,5.02,17.75,5.13), (19.65,5.02,19.94,6.69), (29.795,5.02,30.085,6.55), (30.625,5.02,30.915,6.3), (35.045,5.02,35.335,6.55), (35.875,5.02,36.165,5.91), (40.025,5.02,40.315,6.55), (45.545,5.02,45.835,6.55), (46.375,5.02,46.665,5.52), (50.795,5.02,51.085,6.55), (51.625,5.02,51.915,5.13), (9.53,6.4,9.82,7.66), (18.98,7.87,20.49,8.16)])
A(bias_dist_pd, Metal2_pin, 2.525, -0.47, 0.29, 0.3, 4, 1, 4.38, 0)
R(bias_dist_pd, Metal2_pin, [(19.235,-0.47,19.525,-0.17), (28,-0.47,28.29,-0.17), (33.25,-0.47,33.54,-0.17), (43.75,-0.47,44.04,-0.17), (49,-0.47,49.29,-0.17)])
A(bias_dist_pd, Via1, 5.2, 6.45, 0.19, 0.19, 4, 1, 4.38, 0)
R(bias_dist_pd, Via1, [(0.625,0.055,0.815,0.245), (22.905,4.455,23.095,4.645), (17.51,4.89,17.7,5.08), (51.675,4.89,51.865,5.08), (13.13,5.28,13.32,5.47), (46.425,5.28,46.615,5.47), (8.75,5.67,8.94,5.86), (35.925,5.67,36.115,5.86), (4.37,6.06,4.56,6.25), (30.675,6.06,30.865,6.25), (19.7,6.45,19.89,6.64), (0.625,6.925,0.815,7.115), (22.905,6.925,23.095,7.115)])
R(bias_dist_pd, NWell, [(20.2,5.22,60.14,6.35)])
R(bias_dist_pd, ThickGateOx, [(0,-0.27,59.79,15.77)])
bias_dist_pd.add(gdstk.Reference(bdp_slice, (47.75,0)))
bias_dist_pd.add(gdstk.Reference(bdp_slice, (1.275,0)))
bias_dist_pd.add(gdstk.Reference(bdp_slice, (5.655,0)))
bias_dist_pd.add(gdstk.Reference(bdp_slice, (10.035,0)))
bias_dist_pd.add(gdstk.Reference(bdp_slice, (14.415,0)))
bias_dist_pd.add(gdstk.Reference(bdp_slice, (42.5,0)))
bias_dist_pd.add(gdstk.Reference(bdp_slice, (26.75,0)))
bias_dist_pd.add(gdstk.Reference(bdp_slice, (32,0)))
bias_dist_pd.add(gdstk.Reference(bdp_tdn, (18.815,0)))
bias_dist_pd.add(gdstk.Reference(bdp_svpd, (39.19,0)))
bias_dist_pd.add(gdstk.Reference(bdp_mirror_n, (1.5,14.99), x_reflection=True))
bias_dist_pd.add(gdstk.Reference(bdp_mirror_p, (20.2,6.25)))
bias_dist_pd.add(gdstk.Reference(bdp_fill0, (0.27,0)))
bias_dist_pd.add(gdstk.Reference(bdp_fill1, (20.05,0)))
bias_dist_pd.add(gdstk.Reference(bdp_fill2, (31.025,0)))
bias_dist_pd.add(gdstk.Reference(bdp_fill3, (36.275,0)))
bias_dist_pd.add(gdstk.Reference(bdp_fill4, (40.425,0)))
bias_dist_pd.add(gdstk.Reference(bdp_fill5, (46.775,0)))
bias_dist_pd.add(gdstk.Reference(bdp_fill6, (52.025,0)))
bias_dist_pd.add(gdstk.Label('iin0', (-0.1,6.155), layer=8, texttype=25))
bias_dist_pd.add(gdstk.Label('iin1', (-0.1,5.765), layer=8, texttype=25))
bias_dist_pd.add(gdstk.Label('iin2', (-0.1,5.375), layer=8, texttype=25))
bias_dist_pd.add(gdstk.Label('iin3', (-0.1,4.985), layer=8, texttype=25))
bias_dist_pd.add(gdstk.Label('iout0', (59.89,6.155), layer=8, texttype=25))
bias_dist_pd.add(gdstk.Label('iout1', (59.89,5.765), layer=8, texttype=25))
bias_dist_pd.add(gdstk.Label('iout2', (59.89,5.375), layer=8, texttype=25))
bias_dist_pd.add(gdstk.Label('iout3', (59.89,4.985), layer=8, texttype=25))
bias_dist_pd.add(gdstk.Label('en_3v3', (0.52,-0.325), layer=8, texttype=25))
bias_dist_pd.add(gdstk.Label('vssh', (2.27,15.35), layer=8, texttype=25))
bias_dist_pd.add(gdstk.Label('vddh', (57.52,14.64), layer=8, texttype=25))
bias_dist_pd.add(gdstk.Label('en_in0', (2.67,-0.32), layer=10, texttype=25))
bias_dist_pd.add(gdstk.Label('en_in1', (7.05,-0.32), layer=10, texttype=25))
bias_dist_pd.add(gdstk.Label('en_in2', (11.43,-0.32), layer=10, texttype=25))
bias_dist_pd.add(gdstk.Label('en_in3', (15.81,-0.32), layer=10, texttype=25))
bias_dist_pd.add(gdstk.Label('en_3v3_b', (19.38,-0.32), layer=10, texttype=25))
bias_dist_pd.add(gdstk.Label('en_out0', (28.145,-0.32), layer=10, texttype=25))
bias_dist_pd.add(gdstk.Label('en_out1', (33.395,-0.32), layer=10, texttype=25))
bias_dist_pd.add(gdstk.Label('en_out2', (43.895,-0.32), layer=10, texttype=25))
bias_dist_pd.add(gdstk.Label('en_out3', (49.145,-0.32), layer=10, texttype=25))

lib.write_gds('bias_dist_pd.gds')
